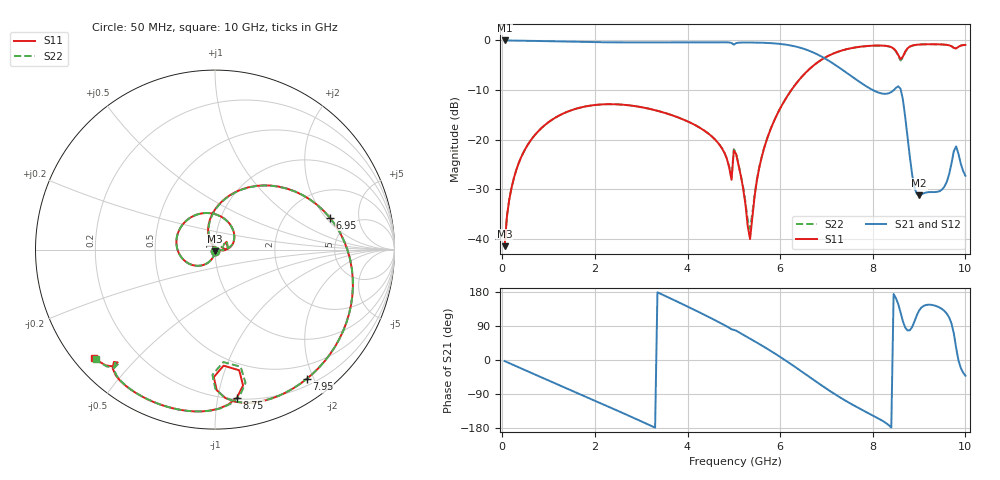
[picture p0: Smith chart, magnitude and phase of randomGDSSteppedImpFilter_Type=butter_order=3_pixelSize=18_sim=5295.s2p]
! freq	dB(S11)	phase(S11)	dB(S12)	phase(S12)
!  dB(S21)	phase(S21)	dB(S22)	phase(S22)
!S-par simulation data
#  GHz  S  DB  R 50
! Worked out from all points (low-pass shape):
!   200 points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, 50 MHz to 10 GHz, reference 50 ohm
!   highest |S21| = -0.01 dB at 50 MHz (marker M1); lowest = -31.2 dB at 9 GHz (marker M2)
!   |S21| within 3 dB of the highest: start of sweep to 6.844 GHz
!   lowest |S11| = -41.5 dB at 50 MHz (marker M3), VSWR 1.02, Z = 50 - j0.845 ohm
!   |S11| at or under -10 dB: start of sweep to 6.242 GHz
!   |S22| runs from -41.5 to -0.8 dB; largest |S21 - S12| = 0
!   S11 on the Smith chart (normalised r, x): 50 MHz: 1.00, -0.02; 6.95 GHz: 3.45, +2.21; 7.95 GHz: 0.29, -1.90; 8.75 GHz: 0.21, -1.14; 10 GHz: 0.06, -0.38
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0.05  -41.45 -91.9  -0.01 -2.8  -0.01 -2.8  -41.45 -91.9
0.2  -29.69 -100.4  -0.03 -11.0  -0.03 -11.0  -29.68 -100.4
0.5  -21.81 -117.7  -0.07 -27.2  -0.07 -27.2  -21.81 -117.6
1.75  -13.39 175.0  -0.32 -94.2  -0.32 -94.2  -13.39 175.0
2.65  -12.99 126.6  -0.40 -142.5  -0.40 -142.5  -12.99 126.7
3.4  -14.30 85.0  -0.40 175.8  -0.40 175.8  -14.30 85.3
4.55  -19.56 18.4  -0.38 107.8  -0.38 107.8  -19.56 19.6
4.95  -28.09 20.8  -0.51 81.0  -0.51 81.0  -27.69 24.3
5.05  -22.90 4.8  -0.54 77.4  -0.54 77.4  -22.79 6.4
5.35  -40.03 64.9  -0.42 56.3  -0.42 56.3  -38.01 63.1
5.75  -18.97 110.0  -0.52 27.5  -0.52 27.5  -18.93 108.6
6.2  -10.57 77.7  -0.97 -8.0  -0.97 -8.0  -10.56 77.2
6.7  -5.21 36.4  -2.37 -50.5  -2.37 -50.5  -5.20 36.2
6.95  -3.56 15.6  -3.54 -71.6  -3.54 -71.6  -3.56 15.6
7.95  -1.08 -54.6  -9.75 -143.1  -9.75 -143.1  -1.08 -54.6
8.35  -1.20 -79.1  -10.63 -172.4  -10.63 -172.4  -1.22 -79.3
8.6  -3.76 -85.8  -9.74 125.6  -9.74 125.6  -4.04 -85.8
8.75  -1.58 -81.5  -19.41 78.1  -19.41 78.1  -1.65 -80.4
9  -0.83 -97.5  -31.17 130.4  -31.17 130.4  -0.84 -96.8
9.55  -0.85 -123.5  -29.40 129.0  -29.40 129.0  -0.85 -123.0
9.8  -1.62 -130.8  -21.35 32.3  -21.35 32.3  -1.62 -130.2
10  -0.90 -138.1  -27.25 -41.5  -27.25 -41.5  -0.90 -137.6
